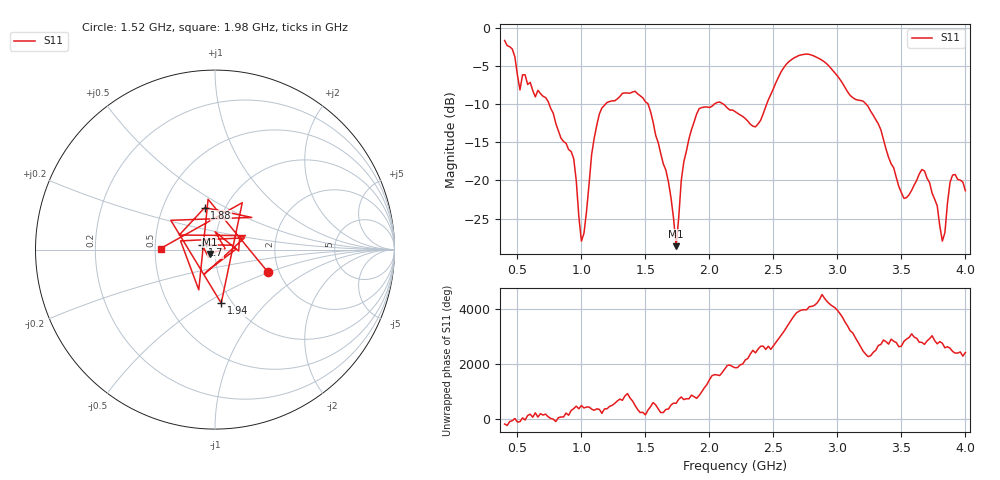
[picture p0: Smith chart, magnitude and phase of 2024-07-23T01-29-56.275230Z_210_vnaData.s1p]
!Created with skrf (http://scikit-rf.org).
# Hz S RI R 50.0
!freq ReS11 ImS11
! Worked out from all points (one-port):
!   181 points, 400 MHz to 4 GHz, reference 50 ohm
!   lowest |S11| = -28.6 dB at 1.74 GHz (marker M1), VSWR 1.08, Z = 47.2 - j2.28 ohm
!   |S11| at or under -10 dB: 747.7 MHz to 1.189 GHz (440.9 MHz wide, 45.5 % of centre); 1.521 GHz to 2.038 GHz (517.1 MHz wide, 29.1 % of centre); 3.224 GHz to end of sweep (the widest 3 of 4)
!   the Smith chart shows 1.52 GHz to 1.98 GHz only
!   S11 on the Smith chart (normalised r, x): 1.52 GHz: 1.75, -0.48; 1.7 GHz: 0.86, +0.05; 1.88 GHz: 0.80, +0.40; 1.94 GHz: 0.89, -0.58; 1.98 GHz: 0.53, +0.01
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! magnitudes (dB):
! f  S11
! 400 MHz  -1.7
! 480 MHz  -3.8
! 520 MHz  -8.1
! 560 MHz  -6.2
! 720 MHz  -9.1
! 860 MHz  -14.9
! 940 MHz  -17.2
! 1 GHz  -28.0
! 1.14 GHz  -11.3
! 1.3 GHz  -9.0
! 1.52 GHz  -9.9
! 1.7 GHz  -22.3
! 1.74 GHz  -28.6
! 1.76 GHz  -24.9
! 1.8 GHz  -17.6
! 1.88 GHz  -12.4
! 1.94 GHz  -10.5
! 1.98 GHz  -10.4
! 2.2 GHz  -11.0
! 2.36 GHz  -13.0
! 2.66 GHz  -4.0
! 3.1 GHz  -8.9
! 3.24 GHz  -10.3
! 3.56 GHz  -21.9
! 3.68 GHz  -18.8
! 3.82 GHz  -28.0
! 3.9 GHz  -19.3
! 4 GHz  -21.4
